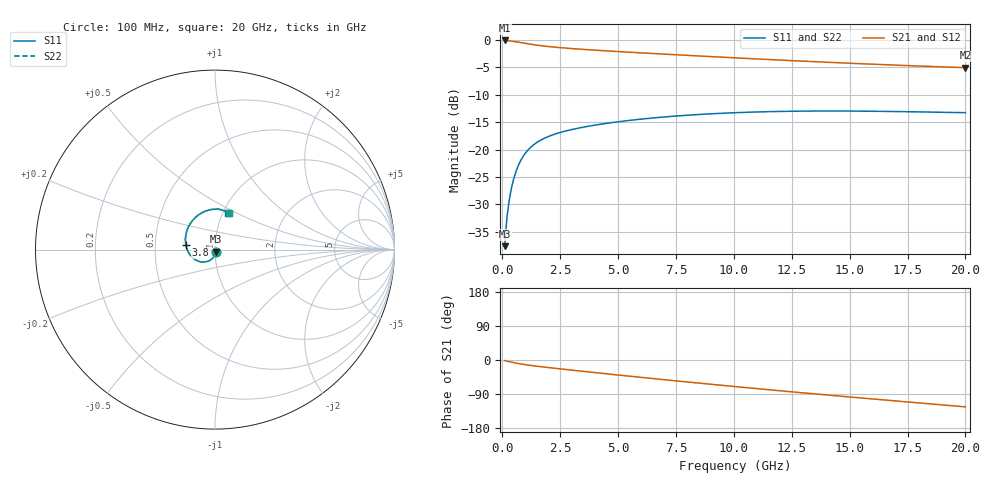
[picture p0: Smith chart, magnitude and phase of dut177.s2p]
! Touchstone file exported from HFSS 2023.1.0
!  File:  D:/Users/fzz/RDL_TSV/temp_RDL_TSV_177_1778754585.aedt
!  Generated:  6:38:01 %x4E0B%x5348  5%x6708 14, 2026
!  Design:  RDL_TSV
!  Project:  temp_RDL_TSV_177_1778754585
!  Setup:  Setup1
!  Solution:  Sweep
! Variables:
!  dtsv = 27.26um
!  hbump = 3um
!  htsv = 52.56um
!  ldown = 207.9um
!  lrdl = 178.86um
!  p = 40
!  p1 = 59.75um
!  rhole = 10um
!  subl = 1339.14um
!  t = 450um
!  tdown = 2.24um
!  trdl = 3.75um
!  viad = 10um
!  wdown = 29.98um
!  wrdl = 26.21um
!  xbump = 18um
# GHz S MA R 50.000000
! Terminal data exported
! Port[1] = TM1_1_T1
! Port[2] = TM1_4_T1
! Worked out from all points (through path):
!   200 points, 100 MHz to 20 GHz, reference 50 ohm
!   highest |S21| = -0.07 dB at 100 MHz (marker M1); lowest = -5.0 dB at 20 GHz (marker M2)
!   group delay of S21, straight-line fit = 16.3 ps
!   lowest |S11| = -37.6 dB at 100 MHz (marker M3), VSWR 1.03, Z = 50.5 - j1.2 ohm
!   |S11| at or under -10 dB: start of sweep to end of sweep
!   |S22| runs from -37.6 to -12.9 dB; largest |S21 - S12| = 1.7e-14
!   S11 on the Smith chart (normalised r, x): 100 MHz: 1.01, -0.02; 3.8 GHz: 0.72, +0.04; 20 GHz: 1.06, +0.45
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0.1  0.01312 -65.0  0.9923 -1.5  0.9923 -1.5  0.01312 -65.0
! Gamma 0 0 0 0
! Port Impedance 50 0 50 0
0.2  0.02384 -83.9  0.9891 -3.0  0.9891 -3.0  0.02384 -83.9
0.3  0.03466 -94.2  0.9842 -4.4  0.9842 -4.4  0.03466 -94.2
0.4  0.04505 -101.8  0.9779 -5.8  0.9779 -5.8  0.04506 -101.8
0.5  0.05483 -108.2  0.9709 -7.1  0.9709 -7.1  0.05483 -108.2
0.6  0.06389 -113.8  0.9633 -8.3  0.9633 -8.3  0.06389 -113.8
0.7  0.07221 -118.9  0.9554 -9.4  0.9554 -9.4  0.07222 -118.9
0.9  0.08669 -127.7  0.9395 -11.4  0.9395 -11.4  0.0867 -127.8
1.1  0.09858 -135.3  0.9244 -13.3  0.9244 -13.3  0.09859 -135.3
1.3  0.1084 -141.9  0.9106 -14.9  0.9106 -14.9  0.1084 -141.9
1.8  0.1264 -155.3  0.8821 -18.6  0.8821 -18.6  0.1264 -155.3
2.5  0.1433 -169.4  0.8529 -23.4  0.8529 -23.4  0.1433 -169.4
3.5  0.1603 174.9  0.8221 -30.0  0.8221 -30.0  0.1604 174.8
3.8  0.1646 170.7  0.8141 -31.9  0.8141 -31.9  0.1647 170.6
5.3  0.1828 152.3  0.7788 -41.5  0.7788 -41.5  0.183 152.2
6.8  0.197 136.7  0.7478 -50.8  0.7478 -50.8  0.1973 136.7
8.4  0.2087 122.5  0.7175 -60.5  0.7175 -60.5  0.2091 122.4
10.1  0.2175 109.7  0.6876 -70.4  0.6876 -70.4  0.218 109.6
11.7  0.2225 99.5  0.6615 -79.5  0.6615 -79.5  0.2231 99.4
13.4  0.2249 90.4  0.6361 -88.9  0.6361 -88.9  0.2256 90.3
16.7  0.2231 77.5  0.5938 -106.6  0.5938 -106.6  0.2239 77.4
20  0.2173 69.8  0.5602 -123.6  0.5602 -123.6  0.2182 69.7
